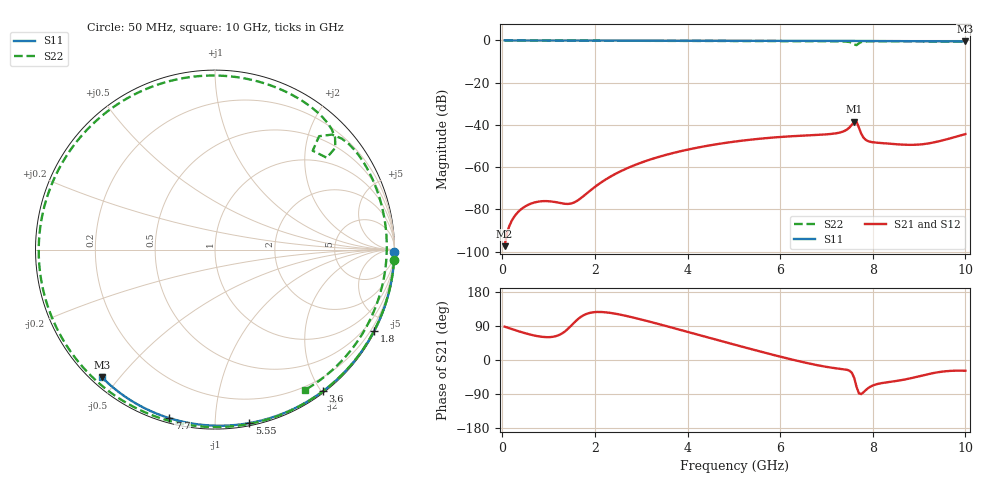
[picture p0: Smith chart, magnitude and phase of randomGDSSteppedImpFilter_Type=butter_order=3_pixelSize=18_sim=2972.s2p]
! freq	dB(S11)	phase(S11)	dB(S12)	phase(S12)
!  dB(S21)	phase(S21)	dB(S22)	phase(S22)
!S-par simulation data
#  GHz  S  DB  R 50
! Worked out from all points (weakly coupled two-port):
!   200 points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, 50 MHz to 10 GHz, reference 50 ohm
!   highest |S21| = -38.41 dB at 7.6 GHz (marker M1); lowest = -97.4 dB at 50 MHz (marker M2)
!   lowest |S11| = -0.4 dB at 10 GHz (marker M3), VSWR 39.18, Z = 1.53 - j22.5 ohm
!   |S11| at or under -10 dB: nowhere
!   |S22| runs from -2.2 to 0.0 dB; largest |S21 - S12| = 0
!   S11 on the Smith chart (normalised r, x): 50 MHz: open; 1.8 GHz: 0.04, -4.17; 3.6 GHz: 0.02, -2.02; 5.55 GHz: 0.02, -1.22; 7.7 GHz: 0.02, -0.76; 10 GHz: 0.03, -0.45
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0.05  -0.00 -0.8  -97.36 88.0  -97.36 88.0  -0.00 -3.5
0.45  -0.01 -6.8  -79.17 72.2  -79.17 72.2  -0.04 -30.6
0.9  -0.02 -13.6  -76.03 60.7  -76.03 60.7  -0.07 -59.2
1.45  -0.03 -21.8  -77.31 86.0  -77.31 86.0  -0.10 -90.5
1.75  -0.03 -26.2  -73.72 117.8  -73.72 117.8  -0.11 -105.6
1.8  -0.03 -27.0  -72.82 120.7  -72.82 120.7  -0.11 -108.0
2.6  -0.05 -38.6  -61.43 118.4  -61.43 118.4  -0.13 -142.6
3.4  -0.07 -49.9  -54.98 94.1  -54.98 94.1  -0.15 -172.0
3.6  -0.07 -52.7  -53.77 87.6  -53.77 87.6  -0.16 -178.9
4.3  -0.09 -62.3  -50.36 64.3  -50.36 64.3  -0.18 158.0
5.05  -0.11 -72.3  -47.77 39.3  -47.77 39.3  -0.21 133.6
5.55  -0.13 -78.8  -46.53 23.1  -46.53 23.1  -0.23 117.2
6.15  -0.15 -86.4  -45.47 4.3  -45.47 4.3  -0.26 96.7
6.7  -0.18 -93.2  -44.81 -11.2  -44.81 -11.2  -0.29 76.9
7.35  -0.22 -101.0  -43.17 -23.9  -43.17 -23.9  -0.44 50.9
7.6  -0.23 -104.0  -38.41 -47.5  -38.41 -47.5  -1.87 39.4
7.65  -0.24 -104.6  -38.52 -71.0  -38.52 -71.0  -2.22 45.3
7.7  -0.24 -105.2  -41.21 -87.9  -41.21 -87.9  -1.33 47.4
7.85  -0.25 -106.9  -47.08 -79.3  -47.08 -79.3  -0.45 38.3
8.35  -0.29 -112.8  -48.85 -58.1  -48.85 -58.1  -0.35 15.3
9.15  -0.36 -122.0  -48.90 -38.6  -48.90 -38.6  -0.44 -19.1
10  -0.44 -131.6  -44.32 -28.4  -44.32 -28.4  -0.64 -57.5
